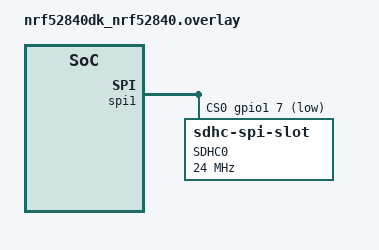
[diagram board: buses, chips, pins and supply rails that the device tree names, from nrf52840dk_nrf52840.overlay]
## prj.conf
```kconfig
CONFIG_DISK_ACCESS=y
CONFIG_LOG=y
CONFIG_FILE_SYSTEM=y
CONFIG_FAT_FILESYSTEM_ELM=y
CONFIG_PRINTK=y
CONFIG_DISK_DRIVER_SDMMC=y
# SPI
CONFIG_SPI=y
CONFIG_SPI_NRFX_RAM_BUFFER_SIZE=8
CONFIG_MAIN_STACK_SIZE=4096
```

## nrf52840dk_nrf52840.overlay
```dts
&spi1 {
        status = "okay";
        cs-gpios = <&gpio1 7 GPIO_ACTIVE_LOW>;

        sdhc0: sdhc@0 {
                compatible = "zephyr,sdhc-spi-slot";
                reg = <0>;
                status = "okay";
                mmc {
                    compatible = "zephyr,sdmmc-disk";
                    status = "okay";
                };
                label = "SDHC0";
                spi-max-frequency = <24000000>;
        };
};
```

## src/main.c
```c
/*
 * Copyright (c) 2019 Tavish Naruka <tavishnaruka@gmail.com>
 *
 * SPDX-License-Identifier: Apache-2.0
 */

/* Sample which uses the filesystem API and SDHC driver */

#include <zephyr/kernel.h>
#include <zephyr/device.h>
#include <zephyr/storage/disk_access.h>
#include <zephyr/logging/log.h>
#include <zephyr/fs/fs.h>
#include <ff.h>

LOG_MODULE_REGISTER(main);

static int lsdir(const char *path);

static FATFS fat_fs;
/* mounting info */
static struct fs_mount_t mp = {
	.type = FS_FATFS,
	.fs_data = &fat_fs,
};

/*
*  Note the fatfs library is able to mount only strings inside _VOLUME_STRS
*  in ffconf.h
*/
static const char *disk_mount_pt = "/SD:";

void main(void)
{
	/* raw disk i/o */
	do {
		static const char *disk_pdrv = "SD";
		uint64_t memory_size_mb;
		uint32_t block_count;
		uint32_t block_size;

		if (disk_access_init(disk_pdrv) != 0) {
			LOG_ERR("Storage init ERROR!");
			break;
		}

		if (disk_access_ioctl(disk_pdrv,
				DISK_IOCTL_GET_SECTOR_COUNT, &block_count)) {
			LOG_ERR("Unable to get sector count");
			break;
		}
		LOG_INF("Block count %u", block_count);

		if (disk_access_ioctl(disk_pdrv,
				DISK_IOCTL_GET_SECTOR_SIZE, &block_size)) {
			LOG_ERR("Unable to get sector size");
			break;
		}
		printk("Sector size %u\n", block_size);

		memory_size_mb = (uint64_t)block_count * block_size;
		printk("Memory Size(MB) %u\n", (uint32_t)(memory_size_mb >> 20));
	} while (0);

	mp.mnt_point = disk_mount_pt;

	int res = fs_mount(&mp);

	if (res == FR_OK) {
		printk("Disk mounted.\n");
		lsdir(disk_mount_pt);
	} else {
		printk("Error mounting disk.\n");
	}

	while (1) {
		k_sleep(K_MSEC(1000));
	}
}

static int lsdir(const char *path)
{
	int res;
	struct fs_dir_t dirp;
	static struct fs_dirent entry;

	fs_dir_t_init(&dirp);

	/* Verify fs_opendir() */
	res = fs_opendir(&dirp, path);
	if (res) {
		printk("Error opening dir %s [%d]\n", path, res);
		return res;
	}

	printk("\nListing dir %s ...\n", path);
	for (;;) {
		/* Verify fs_readdir() */
		res = fs_readdir(&dirp, &entry);

		/* entry.name[0] == 0 means end-of-dir */
		if (res || entry.name[0] == 0) {
			break;
		}

		if (entry.type == FS_DIR_ENTRY_DIR) {
			printk("[DIR ] %s\n", entry.name);
		} else {
			printk("[FILE] %s (size = %zu)\n",
				entry.name, entry.size);
		}
	}

	/* Verify fs_closedir() */
	fs_closedir(&dirp);

	return res;
}
```
